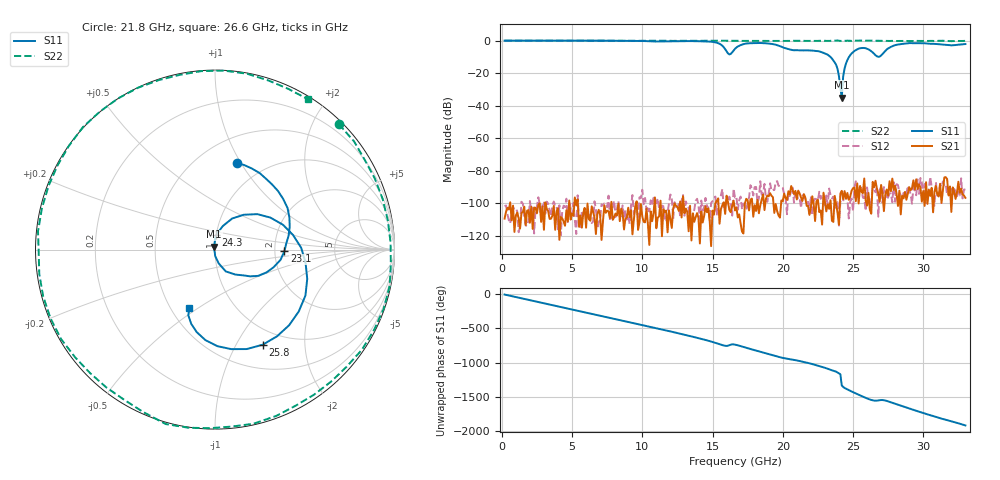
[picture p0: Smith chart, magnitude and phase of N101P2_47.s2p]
# GHZ S RI R 50
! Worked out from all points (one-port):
!   329 points, 200 MHz to 33 GHz, reference 50 ohm
!   lowest |S11| = -35.0 dB at 24.2 GHz (marker M1), VSWR 1.04, Z = 49.4 + j1.67 ohm
!   |S11| at or under -10 dB: 23.39 GHz to 24.72 GHz (1.326 GHz wide, 5.51 % of centre)
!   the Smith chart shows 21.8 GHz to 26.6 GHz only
!   S11 on the Smith chart (normalised r, x): 21.8 GHz: 0.75, +0.96; 23.1 GHz: 2.26, -0.04; 24.3 GHz: 1.00, +0.16; 25.8 GHz: 0.79, -1.29; 26.6 GHz: 0.62, -0.46
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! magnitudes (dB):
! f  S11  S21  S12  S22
! 200 MHz  0.0  -109.3  -101.8  0.0
! 5.7 GHz  0.0  -114.9  -104.7  0.0
! 11.2 GHz  -0.5  -107.9  -103.6  -0.1
! 15.1 GHz  -0.9  -107.0  -97.5  -0.1
! 16.2 GHz  -8.5  -104.1  -95.8  -0.1
! 16.6 GHz  -5.0  -104.3  -96.4  -0.2
! 18.4 GHz  -1.5  -101.2  -86.4  -0.2
! 21.8 GHz  -6.0  -101.5  -99.0  -0.2
! 22.1 GHz  -6.1  -95.6  -107.4  -0.2
! 23.1 GHz  -8.2  -104.9  -95.2  -0.2
! 23.8 GHz  -14.9  -100.7  -102.0  0.0
! 24 GHz  -22.0  -113.1  -113.6  -0.1
! 24.2 GHz  -35.0  -92.3  -98.0  -0.2
! 24.3 GHz  -21.9  -97.5  -98.7  -0.2
! 24.5 GHz  -14.1  -97.2  -95.0  -0.1
! 24.8 GHz  -9.0  -95.8  -98.8  -0.1
! 25.8 GHz  -4.5  -84.7  -96.0  0.0
! 26.6 GHz  -9.0  -86.1  -93.1  -0.1
! 26.9 GHz  -9.8  -98.9  -91.8  -0.2
! 27.6 GHz  -4.3  -86.4  -93.9  -0.2
! 29 GHz  -1.6  -90.0  -91.6  -0.3
! 33 GHz  -2.1  -96.6  -91.5  -0.2
